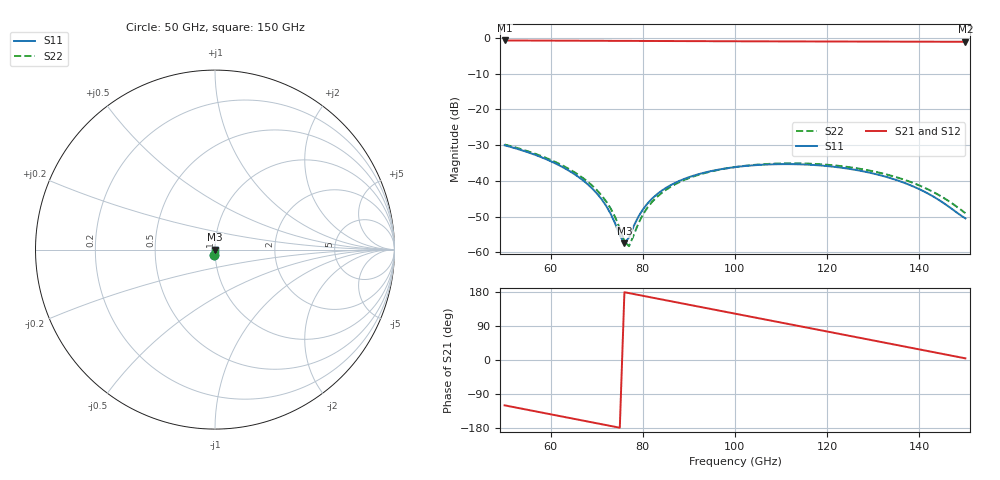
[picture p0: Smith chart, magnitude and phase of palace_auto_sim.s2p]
#  GHZ S DB R 50
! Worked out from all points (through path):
!   101 points, 50 GHz to 150 GHz, reference 50 ohm
!   highest |S21| = -0.69 dB at 50 GHz (marker M1); lowest = -1.1 dB at 150 GHz (marker M2)
!   group delay of S21, straight-line fit = 6.55 ps
!   lowest |S11| = -57.5 dB at 76 GHz (marker M3), VSWR 1.00, Z = 50 - j0.13 ohm
!   |S11| at or under -10 dB: start of sweep to end of sweep
!   |S22| runs from -58.2 to -29.8 dB; largest |S21 - S12| = 1.1e-14
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50  -30.02 -98.8  -0.69 -119.6  -0.69 -119.6  -29.81 -99.3
60  -34.47 -121.1  -0.73 -143.3  -0.73 -143.3  -34.11 -122.0
67  -39.82 -134.3  -0.77 -159.9  -0.77 -159.9  -39.17 -136.0
70  -43.45 -137.4  -0.78 -167.0  -0.78 -167.0  -42.54 -140.1
72  -46.88 -136.4  -0.79 -171.7  -0.79 -171.7  -45.65 -140.8
74  -51.93 -126.5  -0.80 -176.4  -0.80 -176.4  -50.14 -136.2
75  -55.25 -110.1  -0.80 -178.8  -0.80 -178.8  -53.29 -127.6
76  -57.49 -76.1  -0.81 178.9  -0.81 178.9  -56.98 -105.9
77  -55.80 -40.5  -0.81 176.5  -0.81 176.5  -58.25 -63.5
79  -50.07 -15.0  -0.82 171.8  -0.82 171.8  -51.97 -18.8
80  -47.99 -11.7  -0.83 169.4  -0.83 169.4  -49.43 -13.5
82  -44.95 -10.3  -0.84 164.7  -0.84 164.7  -45.86 -10.9
84  -42.81 -11.8  -0.84 160.0  -0.84 160.0  -43.44 -12.2
87  -40.54 -16.1  -0.86 152.9  -0.86 152.9  -40.94 -16.3
91  -38.52 -23.2  -0.88 143.5  -0.88 143.5  -38.74 -23.5
100  -36.13 -40.8  -0.91 122.3  -0.91 122.3  -36.11 -41.4
109  -35.32 -59.2  -0.95 101.1  -0.95 101.1  -35.14 -60.1
117  -35.53 -76.2  -0.97 82.3  -0.97 82.3  -35.22 -77.4
125  -36.65 -93.4  -0.99 63.4  -0.99 63.4  -36.18 -95.1
134  -39.32 -111.5  -1.01 42.2  -1.01 42.2  -38.57 -114.0
143  -44.33 -122.4  -1.04 20.9  -1.04 20.9  -43.07 -127.8
150  -50.47 -103.6  -1.06 4.3  -1.06 4.3  -49.02 -120.3
